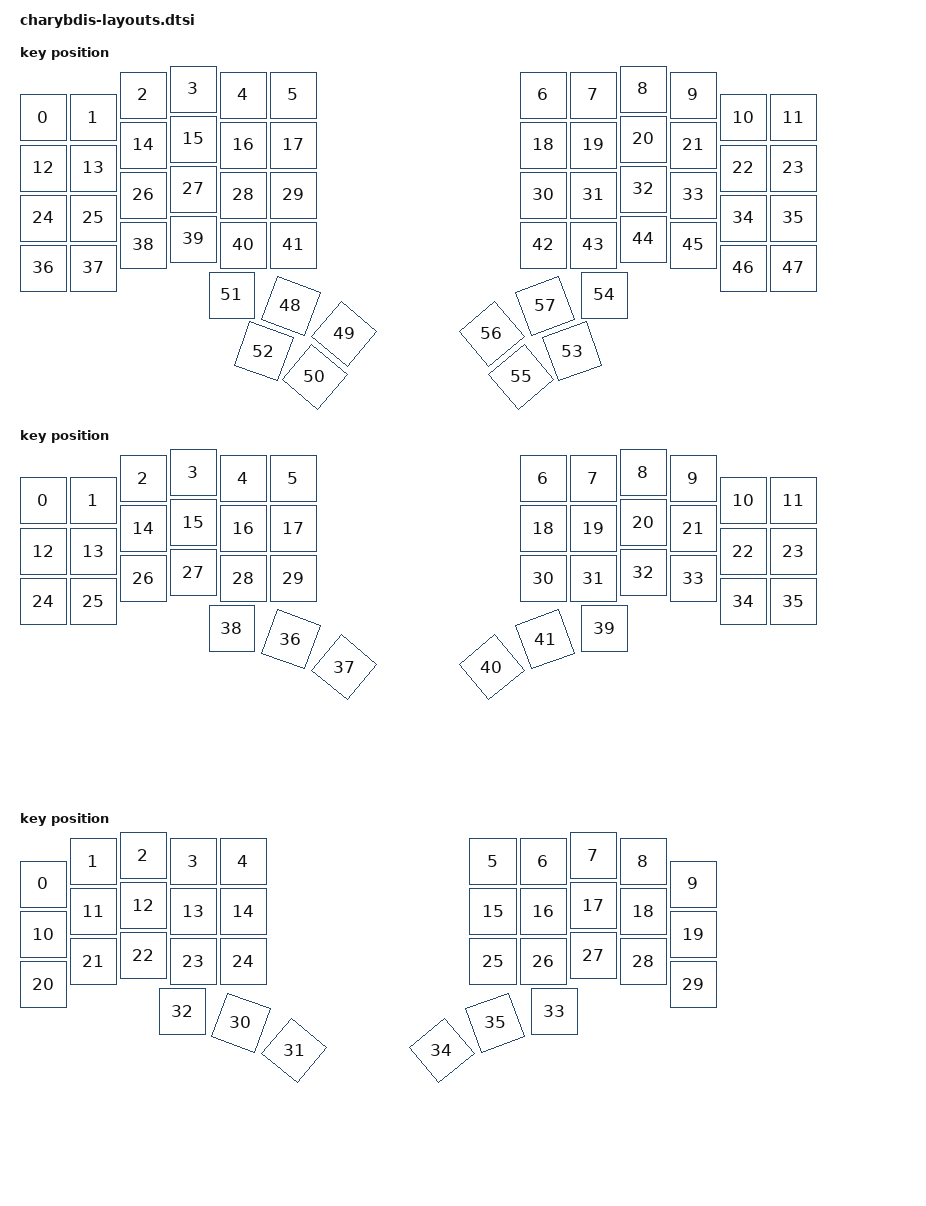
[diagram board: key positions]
#include <physical_layouts.dtsi>

	/ {
    physical_layout0: physical_layout_0 {
        compatible = "zmk,physical-layout";
        display-name = "charybdis";
        kscan = <&kscan0>;
        transform = <&matrix_transform0>;

        keys  //                     w   h    x    y     rot    rx    ry
            = <&key_physical_attrs 100 100    0   57       0     0     0>
            , <&key_physical_attrs 100 100  100   57       0     0     0>
            , <&key_physical_attrs 100 100  200   12       0     0     0>
            , <&key_physical_attrs 100 100  300    0       0     0     0>
            , <&key_physical_attrs 100 100  400   12       0     0     0>
            , <&key_physical_attrs 100 100  500   12       0     0     0>
            , <&key_physical_attrs 100 100 1000   12       0     0     0>
            , <&key_physical_attrs 100 100 1100   12       0     0     0>
            , <&key_physical_attrs 100 100 1200    0       0     0     0>
            , <&key_physical_attrs 100 100 1300   12       0     0     0>
            , <&key_physical_attrs 100 100 1400   57       0     0     0>
            , <&key_physical_attrs 100 100 1500   57       0     0     0>
            , <&key_physical_attrs 100 100    0  158       0     0     0>
            , <&key_physical_attrs 100 100  100  158       0     0     0>
            , <&key_physical_attrs 100 100  200  112       0     0     0>
            , <&key_physical_attrs 100 100  300  100       0     0     0>
            , <&key_physical_attrs 100 100  400  112       0     0     0>
            , <&key_physical_attrs 100 100  500  112       0     0     0>
            , <&key_physical_attrs 100 100 1000  112       0     0     0>
            , <&key_physical_attrs 100 100 1100  112       0     0     0>
            , <&key_physical_attrs 100 100 1200  100       0     0     0>
            , <&key_physical_attrs 100 100 1300  112       0     0     0>
            , <&key_physical_attrs 100 100 1400  158       0     0     0>
            , <&key_physical_attrs 100 100 1500  158       0     0     0>
            , <&key_physical_attrs 100 100    0  258       0     0     0>
            , <&key_physical_attrs 100 100  100  258       0     0     0>
            , <&key_physical_attrs 100 100  200  212       0     0     0>
            , <&key_physical_attrs 100 100  300  200       0     0     0>
            , <&key_physical_attrs 100 100  400  212       0     0     0>
            , <&key_physical_attrs 100 100  500  212       0     0     0>
            , <&key_physical_attrs 100 100 1000  212       0     0     0>
            , <&key_physical_attrs 100 100 1100  212       0     0     0>
            , <&key_physical_attrs 100 100 1200  200       0     0     0>
            , <&key_physical_attrs 100 100 1300  212       0     0     0>
            , <&key_physical_attrs 100 100 1400  258       0     0     0>
            , <&key_physical_attrs 100 100 1500  258       0     0     0>
            , <&key_physical_attrs 100 100    0  358       0     0     0>
            , <&key_physical_attrs 100 100  100  358       0     0     0>
            , <&key_physical_attrs 100 100  200  312       0     0     0>
            , <&key_physical_attrs 100 100  300  300       0     0     0>
            , <&key_physical_attrs 100 100  400  312       0     0     0>
            , <&key_physical_attrs 100 100  500  312       0     0     0>
            , <&key_physical_attrs 100 100 1000  312       0     0     0>
            , <&key_physical_attrs 100 100 1100  312       0     0     0>
            , <&key_physical_attrs 100 100 1200  300       0     0     0>
            , <&key_physical_attrs 100 100 1300  312       0     0     0>
            , <&key_physical_attrs 100 100 1400  358       0     0     0>
            , <&key_physical_attrs 100 100 1500  358       0     0     0>
            , <&key_physical_attrs 100 100  348  408    2000   398   890>
            , <&key_physical_attrs 100 100  318  408    4000   398   890>
            , <&key_physical_attrs 100 100  328  512    4000   398   890>
            , <&key_physical_attrs 100 100  378  412       0     0     0>
            , <&key_physical_attrs 100 100  328  512    2000   398   890>
            , <&key_physical_attrs 100 100 1172  512 (-2000)  1202   890>
            , <&key_physical_attrs 100 100 1122  412       0     0     0>
            , <&key_physical_attrs 100 100 1172  512 (-4000)  1202   890>
            , <&key_physical_attrs 100 100 1182  408 (-4000)  1202   890>
            , <&key_physical_attrs 100 100 1152  408 (-2000)  1202   890>
            ;
    };

    physical_layout1: physical_layout_1 {
        compatible = "zmk,physical-layout";
        display-name = "charybdis-mini";
        kscan = <&kscan0>;
        transform = <&matrix_transform1>;

        keys  //                     w   h    x    y     rot    rx    ry
            = <&key_physical_attrs 100 100    0   57       0     0     0>
            , <&key_physical_attrs 100 100  100   57       0     0     0>
            , <&key_physical_attrs 100 100  200   12       0     0     0>
            , <&key_physical_attrs 100 100  300    0       0     0     0>
            , <&key_physical_attrs 100 100  400   12       0     0     0>
            , <&key_physical_attrs 100 100  500   12       0     0     0>
            , <&key_physical_attrs 100 100 1000   12       0     0     0>
            , <&key_physical_attrs 100 100 1100   12       0     0     0>
            , <&key_physical_attrs 100 100 1200    0       0     0     0>
            , <&key_physical_attrs 100 100 1300   12       0     0     0>
            , <&key_physical_attrs 100 100 1400   57       0     0     0>
            , <&key_physical_attrs 100 100 1500   57       0     0     0>
            , <&key_physical_attrs 100 100    0  158       0     0     0>
            , <&key_physical_attrs 100 100  100  158       0     0     0>
            , <&key_physical_attrs 100 100  200  112       0     0     0>
            , <&key_physical_attrs 100 100  300  100       0     0     0>
            , <&key_physical_attrs 100 100  400  112       0     0     0>
            , <&key_physical_attrs 100 100  500  112       0     0     0>
            , <&key_physical_attrs 100 100 1000  112       0     0     0>
            , <&key_physical_attrs 100 100 1100  112       0     0     0>
            , <&key_physical_attrs 100 100 1200  100       0     0     0>
            , <&key_physical_attrs 100 100 1300  112       0     0     0>
            , <&key_physical_attrs 100 100 1400  158       0     0     0>
            , <&key_physical_attrs 100 100 1500  158       0     0     0>
            , <&key_physical_attrs 100 100    0  258       0     0     0>
            , <&key_physical_attrs 100 100  100  258       0     0     0>
            , <&key_physical_attrs 100 100  200  212       0     0     0>
            , <&key_physical_attrs 100 100  300  200       0     0     0>
            , <&key_physical_attrs 100 100  400  212       0     0     0>
            , <&key_physical_attrs 100 100  500  212       0     0     0>
            , <&key_physical_attrs 100 100 1000  212       0     0     0>
            , <&key_physical_attrs 100 100 1100  212       0     0     0>
            , <&key_physical_attrs 100 100 1200  200       0     0     0>
            , <&key_physical_attrs 100 100 1300  212       0     0     0>
            , <&key_physical_attrs 100 100 1400  258       0     0     0>
            , <&key_physical_attrs 100 100 1500  258       0     0     0>
            , <&key_physical_attrs 100 100  348  308    2000   398   790>
            , <&key_physical_attrs 100 100  318  308    4000   398   790>
            , <&key_physical_attrs 100 100  378  312       0     0     0>
            , <&key_physical_attrs 100 100 1122  312       0     0     0>
            , <&key_physical_attrs 100 100 1182  308 (-4000)  1202   790>
            , <&key_physical_attrs 100 100 1152  308 (-2000)  1202   790>
            ;
    };

    physical_layout2: physical_layout_2 {
        compatible = "zmk,physical-layout";
        display-name = "charybdis-nano";
        kscan = <&kscan0>;
        transform = <&matrix_transform2>;

        keys  //                     w   h    x    y     rot    rx    ry
            = <&key_physical_attrs 100 100    0   57       0     0     0>
            , <&key_physical_attrs 100 100  100   12       0     0     0>
            , <&key_physical_attrs 100 100  200    0       0     0     0>
            , <&key_physical_attrs 100 100  300   12       0     0     0>
            , <&key_physical_attrs 100 100  400   12       0     0     0>
            , <&key_physical_attrs 100 100  900   12       0     0     0>
            , <&key_physical_attrs 100 100 1000   12       0     0     0>
            , <&key_physical_attrs 100 100 1100    0       0     0     0>
            , <&key_physical_attrs 100 100 1200   12       0     0     0>
            , <&key_physical_attrs 100 100 1300   57       0     0     0>
            , <&key_physical_attrs 100 100    0  158       0     0     0>
            , <&key_physical_attrs 100 100  100  112       0     0     0>
            , <&key_physical_attrs 100 100  200  100       0     0     0>
            , <&key_physical_attrs 100 100  300  112       0     0     0>
            , <&key_physical_attrs 100 100  400  112       0     0     0>
            , <&key_physical_attrs 100 100  900  112       0     0     0>
            , <&key_physical_attrs 100 100 1000  112       0     0     0>
            , <&key_physical_attrs 100 100 1100  100       0     0     0>
            , <&key_physical_attrs 100 100 1200  112       0     0     0>
            , <&key_physical_attrs 100 100 1300  158       0     0     0>
            , <&key_physical_attrs 100 100    0  258       0     0     0>
            , <&key_physical_attrs 100 100  100  212       0     0     0>
            , <&key_physical_attrs 100 100  200  200       0     0     0>
            , <&key_physical_attrs 100 100  300  212       0     0     0>
            , <&key_physical_attrs 100 100  400  212       0     0     0>
            , <&key_physical_attrs 100 100  900  212       0     0     0>
            , <&key_physical_attrs 100 100 1000  212       0     0     0>
            , <&key_physical_attrs 100 100 1100  200       0     0     0>
            , <&key_physical_attrs 100 100 1200  212       0     0     0>
            , <&key_physical_attrs 100 100 1300  258       0     0     0>
            , <&key_physical_attrs 100 100  248  308    2000   298   790>
            , <&key_physical_attrs 100 100  218  308    4000   298   790>
            , <&key_physical_attrs 100 100  278  312       0     0     0>
            , <&key_physical_attrs 100 100 1022  312       0     0     0>
            , <&key_physical_attrs 100 100 1082  308 (-4000)  1102   790>
            , <&key_physical_attrs 100 100 1052  308 (-2000)  1102   790>
            ;
    };
    position_map {
    compatible = "zmk,physical-layout-position-map";

    charybdis: charybdis {
        physical-layout = <&physical_layout0>;
        positions
            = <12 24 36 13 25 37 14 26 38 15 27 39 16 28 40 17>
            , <29 41 18 30 42 19 31 43 20 32 44 21 33 45 22 34>
            , <46 35 47 23 51 48 49 56 57 54>
            ;
    };

    charybdis_mini: charybdis_mini {
        physical-layout = <&physical_layout1>;
        positions
            = < 0 12 24  1 13 25  2 14 26  3 15 27  4 16 28  5>
            , <17 29  6 18 30  7 19 31  8 20 32  9 21 33 10 22>
            , <34 23 35 11 38 36 37 40 41 39>
            ;
    };

    charybdis_nano {
        physical-layout = <&physical_layout2>;
        positions
            = <36 37 38  0 10 20  1 11 21  2 12 22  3 13 23  4>
            , <14 24  5 15 25  6 16 26  7 17 27  8 18 28  9 19>
            , <29 39 40 41 32 30 31 34 35 33>
            ;
    };
};
};
